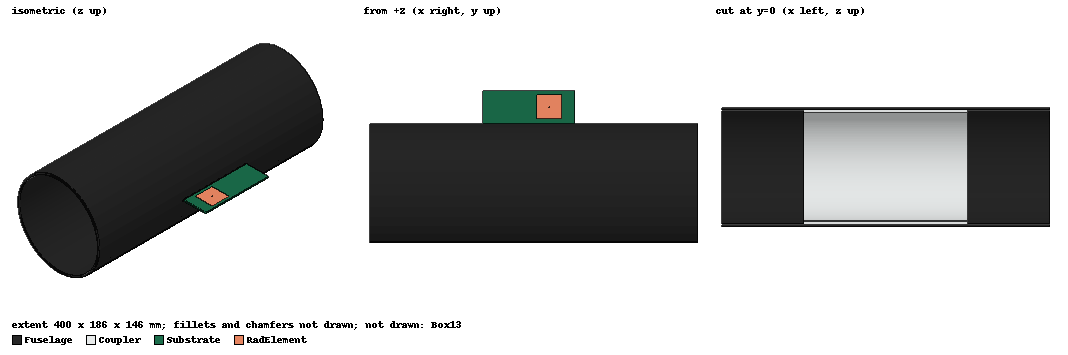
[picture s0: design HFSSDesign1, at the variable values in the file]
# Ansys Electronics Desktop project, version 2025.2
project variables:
  $Radius = 73mm
  $Length = 30mm  # optimise 20mm..60mm
  $Width = 30mm  # optimise 20mm..60mm
  $ChamferSize = 5mm
  $PortOffset = 0mm
  $AntennaOffset = 5mm
  $FeedWidth = 3mm
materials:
  vacuum: permittivity=1
  copper: permeability=0.999991 conductivity=58000000
  air: permittivity=1.0006 permeability=1.0000004
  graphite: conductivity=70000
  FR4_epoxy: permittivity=4.4 dielectric_loss_tangent=0.02
  cast_iron: permeability=60 conductivity=1500000
  CF - Carbon fiber: conductivity=252.337
  aluminum: permeability=1.000021 conductivity=38000000

design HFSSDesign1 (HFSS, HFSS Terminal Network, model units mm)
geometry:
  Substrate [FR4_epoxy] = box(corner=(50mm, $Radius, 0.8mm), size=((-4.5*25) mm, 40mm, -1.6mm))
  Fuselage [CF - Carbon fiber] = cylinder(axis=X, base_centre=(-200mm, 0mm, 0mm), radius=73mm, height=400mm, segments=32)
  Cylinder3 = cylinder(axis=X, base_centre=(200mm, 0mm, 0mm), radius=70mm, height=-400mm)
  Fuselage.subtract(Cylinder3)
  Box13 [air] = box(corner=(-250mm, 200mm, 100mm), size=(500mm, -400mm, -200mm))
  Coupler [aluminum] = cylinder(axis=X, base_centre=(-100mm, 0mm, 0mm), radius=70mm, height=200mm, segments=32)
  Cylinder5 = cylinder(axis=X, base_centre=(100mm, 0mm, 0mm), radius=66.5mm, height=-200mm)
  Coupler.subtract(Cylinder5)
  Substrate.chamfer(Edges=Substrate.edge(at (-62.5, 113, 0)) LeftDistance=40mm RightDistance="(2.25*25) mm" ChamferType="Left Distance-Right Distance" ChamferAdditionalGeometryInfo{ChamferEdgeGeometryInfo{ChamferEdgeID=1342 ChamferEdgeSense ChamferEdgeStart{X=-62.5mm Y=113mm Z=0.8mm} ChamferEdgeEnd{X=-62.5mm Y=113mm Z=-0.8mm} ChamferEdgeMid{X=-62.5mm Y=113mm Z=0mm} ChamferEdgeMidTangent(0, 0, -1)}})
  Substrate.chamfer(Edges=Substrate.edge(at (50, 113, 0)) LeftDistance=6.25mm RightDistance=40mm ChamferType="Left Distance-Right Distance" ChamferAdditionalGeometryInfo{ChamferEdgeGeometryInfo{ChamferEdgeID=1343 ChamferEdgeSense ChamferEdgeStart{X=50mm Y=113mm Z=0.8mm} ChamferEdgeEnd{X=50mm Y=113mm Z=-0.8mm} ChamferEdgeMid{X=50mm Y=113mm Z=0mm} ChamferEdgeMidTangent(0, 0, -1)}})
  GroundPlane [copper] = box(corner=(50mm, $Radius, -0.8mm), size=((-4.5*25) mm, 40mm, -0.035mm))
  GroundPlane.chamfer(Edges=GroundPlane.edge(at (-62.5, 113, -0.8175)) LeftDistance=40mm RightDistance="(2.25*25) mm" ChamferType="Left Distance-Right Distance" ChamferAdditionalGeometryInfo{ChamferEdgeGeometryInfo{ChamferEdgeID=2238 ChamferEdgeSense ChamferEdgeStart{X=-62.5mm Y=113mm Z=-0.8mm} ChamferEdgeEnd{X=-62.5mm Y=113mm Z=-0.835mm} ChamferEdgeMid{X=-62.5mm Y=113mm Z=-0.8175mm} ChamferEdgeMidTangent(0, 0, -1)}})
  GroundPlane.chamfer(Edges=GroundPlane.edge(at (50, 113, -0.8175)) LeftDistance=6.25mm RightDistance=40mm ChamferType="Left Distance-Right Distance" ChamferAdditionalGeometryInfo{ChamferEdgeGeometryInfo{ChamferEdgeID=2239 ChamferEdgeSense ChamferEdgeStart{X=50mm Y=113mm Z=-0.8mm} ChamferEdgeEnd{X=50mm Y=113mm Z=-0.835mm} ChamferEdgeMid{X=50mm Y=113mm Z=-0.8175mm} ChamferEdgeMidTangent(0, 0, -1)}})
  coordinate_system RelativeCS1 = origin=(18.75mm, $Radius, 0.8mm) x=(1mm, 0mm, 0mm) y=(0mm, 1mm, 0mm)
  RadElement [copper] = box(corner=(-$Width/2, $AntennaOffset, 0mm), size=($Width, $Length, 0.035mm)) in RelativeCS1
  RadElement.chamfer(Edges=RadElement.edge(at (33.75, 108, 0.8175)) LeftDistance=$ChamferSize RightDistance=$ChamferSize ChamferType=Symmetric ChamferAdditionalGeometryInfo{ChamferEdgeGeometryInfo{ChamferEdgeID=2327 ChamferEdgeSense ChamferEdgeStart{X=33.75mm Y=108mm Z=0.8mm} ChamferEdgeEnd{X=33.75mm Y=108mm Z=0.835mm} ChamferEdgeMid{X=33.75mm Y=108mm Z=0.8175mm} ChamferEdgeMidTangent(0, 0, 1)}})
  RadElement.chamfer(Edges=RadElement.edge(at (3.75, 78, 0.8175)) LeftDistance=$ChamferSize RightDistance=$ChamferSize ChamferType=Symmetric ChamferAdditionalGeometryInfo{ChamferEdgeGeometryInfo{ChamferEdgeID=2324 ChamferEdgeSense ChamferEdgeStart{X=3.75mm Y=78mm Z=0.8mm} ChamferEdgeEnd{X=3.75mm Y=78mm Z=0.835mm} ChamferEdgeMid{X=3.75mm Y=78mm Z=0.8175mm} ChamferEdgeMidTangent(0, 0, 1)}})
  FeedVia [copper] = cylinder(axis=Z, base_centre=(0, ($AntennaOffset+$Length/2)-$PortOffset, -1.635mm), radius=0.5mm, height=1.67mm) in RelativeCS1
  Cylinder7 = cylinder(axis=Z, base_centre=(0, ($AntennaOffset+$Length/2)-$PortOffset, -1.635mm), radius=0.5mm-0.035mm, height=1.67mm) in RelativeCS1
  Cylinder7_1 = Cylinder7.copy()
  FeedVia.subtract(Cylinder7_1)
  ViaHole [non-model] = Cylinder7.copy()
  Cylinder7_3 = Cylinder7.copy()
  Cylinder7.delete()
  RadElement.subtract(Cylinder7_3)
  Feedline [copper] = box(corner=(-$FeedWidth/2, 0mm, -1.635mm), size=($FeedWidth, $PortOffset+$AntennaOffset+$Length/2+1mm, 0.035mm)) in RelativeCS1
  FeedClearance = box(corner=(-($FeedWidth+2mm)/2, 0mm, -1.635mm), size=($FeedWidth+2mm, $PortOffset+$AntennaOffset+$Length/2+2mm, 0.035mm)) in RelativeCS1
  GroundPlane.subtract(FeedClearance)
  FeedVia_1 = FeedVia.copy()
  ViaHole_1 = ViaHole.copy()
  Substrate.subtract(FeedVia_1, ViaHole_1)
  ViaHole_2 = ViaHole.copy()
  Feedline.subtract(ViaHole_2)
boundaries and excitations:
  Rad1: Radiation Objects=Box13
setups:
  Setup1: HfssDriven Frequency=915MHz MaxDeltaE=0.1 MaximumPasses=10 MinimumPasses=1 MinimumConvergedPasses=1 PercentRefinement=30 BasisOrder=1 DrivenSolverType="Direct Solver"
    sweep Sweep: 500MHz to 1200MHz, 120 points; Type=Discrete SaveFields SaveRadFields
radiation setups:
  Infinite Sphere1: Infinite Sphere Theta=0deg..180deg step 2deg Phi=-180deg..180deg step 2deg
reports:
  Terminal S Parameter Plot1: dB(St(Box11_T1,Box11_T1)) vs Freq on Setup1 : Sweep
  Terminal VSWR Plot1: VSWRt(Box11_T1) vs Freq on Setup1 : Sweep
  Gain Plot1: dB(GainTotal) vs Phi, Theta on Setup1 : LastAdaptive, Infinite Sphere1 [Freq=0.915GHz]
